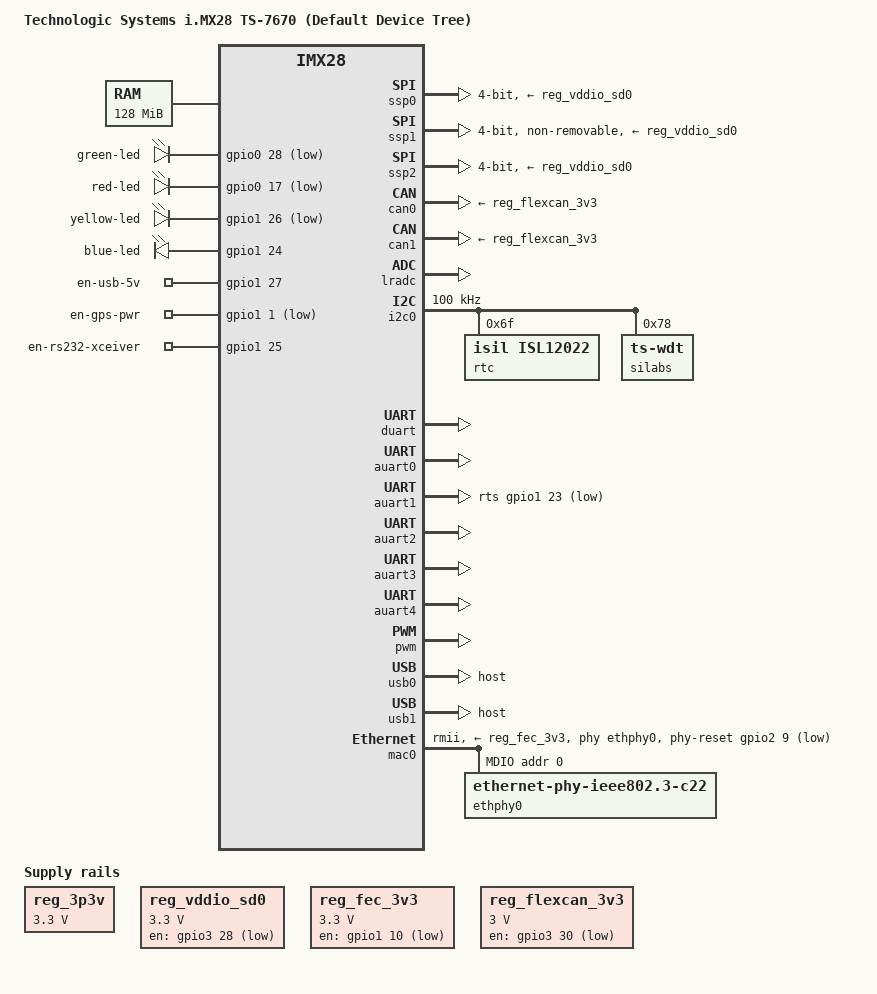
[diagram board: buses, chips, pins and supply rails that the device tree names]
/*
 * Copyright (C) 2019 Technologic Systems <support@embeddedarm.com>
 * Copyright (C) 2012 Marek Vasut <marex@denx.de>
 *
 * The code contained herein is licensed under the GNU General Public
 * License. You may obtain a copy of the GNU General Public License
 * Version 2 or later at the following locations:
 *
 * http://www.opensource.org/licenses/gpl-license.html
 * http://www.gnu.org/copyleft/gpl.html
 */

/dts-v1/;
#include "imx28.dtsi"
#include "dt-bindings/gpio/gpio.h"
#include <dt-bindings/interrupt-controller/irq.h>

/ {

	model = "Technologic Systems i.MX28 TS-7670 (Default Device Tree)";
	compatible = "fsl,imx28-ts7670", "fsl,imx28";

	aliases {
		i2c0 = &i2c0;
	};

	memory {
		reg = <0x40000000 0x08000000>;   /* 128MB */
	};

	leds {
		pinctrl-names = "default";
		pinctrl-0 = <&pinctrl_gpio_leds>;
		compatible = "gpio-leds";

		green-led {
			label = "green-led";
			gpios = <&gpio0 28 GPIO_ACTIVE_LOW>;
			default-state = "on";
		};

		red-led {
			label = "red-led";
			gpios = <&gpio0 17 GPIO_ACTIVE_LOW>;
			default-state = "off";
		};

		yellow-led {
			label = "yellow-led";
			gpios = <&gpio1 26 GPIO_ACTIVE_LOW>;
			default-state = "off";
		};

		blue-led {
			label = "blue-led";
			gpios = <&gpio1 24 GPIO_ACTIVE_HIGH>;
			default-state = "off";
		};

		/* The following are meant to be userspace controlled IO. The
		 * kernel does not allow setting default state of GPIO, but
		 * the default state of LEDs can be set, which is why the LED
		 * subsystem is used.
		 */
		en-usb-5v {
			label = "en-usb-5v";
			gpios = <&gpio1 27 GPIO_ACTIVE_HIGH>;
			default-state = "on";
		};

		en-gps-pwr {
			label = "en-gps-pwr";
			gpios = <&gpio1 1 GPIO_ACTIVE_LOW>;
			default-state = "off";
		};

		en-rs232-xceiver {
			label = "en-rs232-xceiver";
			gpios = <&gpio1 25 GPIO_ACTIVE_HIGH>;
			default-state = "on";
		};
	};


	apb@80000000 {
		apbh@80000000 {
			/* SD 0 */
			ssp0: ssp@80010000 {
				compatible = "fsl,imx28-mmc";
				pinctrl-names = "default";
				pinctrl-0 = <&mmc0_4bit_pins>;
				vmmc-supply = <&reg_vddio_sd0>;
				bus-width = <4>;
				broken-cd;
				disable-wp;
				status = "okay";
			};

			/* eMMC */
			ssp1: ssp@80012000 {
				compatible = "fsl,imx28-mmc";
				pinctrl-names = "default";
				pinctrl-0 = <&mmc1_4bit_pins>;
				vmmc-supply = <&reg_vddio_sd0>;
				bus-width = <4>;
				broken-cd;
				disable-wp;
				non-removable;
				status = "okay";
			};

			/* SD 1 */
			ssp2: ssp@80014000 {
				compatible = "fsl,imx28-mmc";
				pinctrl-names = "default";
				pinctrl-0 = <&mmc2_4bit_pins>;
				vmmc-supply = <&reg_vddio_sd0>;
				bus-width = <4>;
				broken-cd;
				disable-wp;
				status = "okay";
			};

			pinctrl@80018000 {
				pinctrl-names = "default";
				pinctrl-0 = <&pinctrl_hog>;

				pinctrl_hog: hoggrp {
					reg = <0>;
					fsl,pinmux-ids = <
					  /* Push switch */
					  MX28_PAD_LCD_D20__GPIO_1_20
					  /* Boot strapping */
					  MX28_PAD_LCD_D00__GPIO_1_0
					  MX28_PAD_LCD_D02__GPIO_1_2
					  MX28_PAD_LCD_D03__GPIO_1_3
					  MX28_PAD_LCD_D04__GPIO_1_4
					  MX28_PAD_LCD_D05__GPIO_1_5
					  MX28_PAD_LCD_D06__GPIO_1_6
					  /* DC DIO 4-6 */
					  MX28_PAD_LCD_D07__GPIO_1_7
					  MX28_PAD_LCD_D08__GPIO_1_8
					  MX28_PAD_LCD_D09__GPIO_1_9
					  /* Option strap 1-4 */
					  MX28_PAD_GPMI_D07__GPIO_0_7
					  MX28_PAD_LCD_D21__GPIO_1_21
					  MX28_PAD_LCD_D19__GPIO_1_19
					  MX28_PAD_LCD_D11__GPIO_1_11
					  /* EN MODBUS 24 V */
					  MX28_PAD_LCD_D13__GPIO_1_13
					  /* MODBUS FAULT */
					  MX28_PAD_LCD_D14__GPIO_1_14
					  /* EN MODBUS 3V# */
					  MX28_PAD_LCD_D15__GPIO_1_15
					  /* GPS PPS Out */
					  MX28_PAD_LCD_D16__GPIO_1_16
					  /* HD2 pin 4,6-8 */
					  MX28_PAD_GPMI_CE0N__GPIO_0_16
					  MX28_PAD_GPMI_D06__GPIO_0_6
					  MX28_PAD_LCD_D18__GPIO_1_18
					  MX28_PAD_GPMI_D05__GPIO_0_5
					>;
					fsl,drive-strength = <MXS_DRIVE_4mA>;
					fsl,voltage = <MXS_VOLTAGE_HIGH>;
					fsl,pull-up = <MXS_PULL_ENABLE>;
				};

				mmc0_4bit_pins: mmc0-4bit@0 {
					reg = <0>;
					fsl,pinmux-ids = <
					  MX28_PAD_SSP0_DATA0__SSP0_D0
					  MX28_PAD_SSP0_DATA1__SSP0_D1
					  MX28_PAD_SSP0_DATA2__SSP0_D2
					  MX28_PAD_SSP0_DATA3__SSP0_D3
					  MX28_PAD_SSP0_CMD__SSP0_CMD
					  MX28_PAD_SSP0_SCK__SSP0_SCK
					  /* EN SD Power */
					  MX28_PAD_PWM3__GPIO_3_28
					>;
					fsl,drive-strength = <MXS_DRIVE_8mA>;
					fsl,voltage = <MXS_VOLTAGE_HIGH>;
					fsl,pull-up = <MXS_PULL_ENABLE>;
				};

				mmc1_4bit_pins: mmc1-4bit@0 {
					reg = <0>;
					fsl,pinmux-ids = <
					  MX28_PAD_GPMI_D00__SSP1_D0
					  MX28_PAD_GPMI_D01__SSP1_D1
					  MX28_PAD_GPMI_D02__SSP1_D2
					  MX28_PAD_GPMI_D03__SSP1_D3
					  MX28_PAD_GPMI_RDY1__SSP1_CMD
					  MX28_PAD_GPMI_WRN__SSP1_SCK
					>;
					fsl,drive-strength = <MXS_DRIVE_8mA>;
					fsl,voltage = <MXS_VOLTAGE_HIGH>;
					fsl,pull-up = <MXS_PULL_ENABLE>;
				};

				mmc2_4bit_pins: mmc2-4bit@0 {
					reg = <0>;
					fsl,pinmux-ids = <
					  MX28_PAD_SSP0_DATA4__SSP2_D0
					  MX28_PAD_SSP2_SS1__SSP2_D1
					  MX28_PAD_SSP2_SS2__SSP2_D2
					  MX28_PAD_SSP0_DATA5__SSP2_D3
					  MX28_PAD_SSP0_DATA6__SSP2_CMD
					  /* For some reason, using the imx28
					   * .dtsi pinctrl definition of
					   * mmc2_sck_cfg or mmc2_4bit_pins_a
					   * does not properly set the clock mux
					   * However, setting it here works.
					   */
					  MX28_PAD_SSP0_DATA7__SSP2_SCK
					>;
					fsl,drive-strength = <MXS_DRIVE_8mA>;
					fsl,voltage = <MXS_VOLTAGE_HIGH>;
					fsl,pull-up = <MXS_PULL_ENABLE>;
				};

				mac0_pins_ts7670: mac0@0 {
					reg = <0>;
					fsl,pinmux-ids = <
					  MX28_PAD_ENET0_MDC__ENET0_MDC
					  MX28_PAD_ENET0_MDIO__ENET0_MDIO
					  MX28_PAD_ENET0_RX_EN__ENET0_RX_EN
					  MX28_PAD_ENET0_RXD0__ENET0_RXD0
					  MX28_PAD_ENET0_RXD1__ENET0_RXD1
					  MX28_PAD_ENET0_TX_EN__ENET0_TX_EN
					  MX28_PAD_ENET0_TXD0__ENET0_TXD0
					  MX28_PAD_ENET0_TXD1__ENET0_TXD1
					  MX28_PAD_ENET_CLK__CLKCTRL_ENET
					  /* PHY reset */
					  MX28_PAD_SSP0_DETECT__GPIO_2_9
					  /* PHY power */
					  MX28_PAD_LCD_D10__GPIO_1_10
					>;
					fsl,drive-strength = <MXS_DRIVE_8mA>;
					fsl,voltage = <MXS_VOLTAGE_HIGH>;
					fsl,pull-up = <MXS_PULL_ENABLE>;
				};

				auart4_2pins: auart4@0 {
					reg = <0>;
					fsl,pinmux-ids = <
					  MX28_PAD_SAIF0_BITCLK__AUART4_RX
					  MX28_PAD_SAIF0_SDATA0__AUART4_TX
					>;
					fsl,drive-strength = <MXS_DRIVE_4mA>;
					fsl,voltage = <MXS_VOLTAGE_HIGH>;
					fsl,pull-up = <MXS_PULL_DISABLE>;
				};

				auart1_2pins_gpio_rtscts: auart1-rtscts@0 {
					reg = <0>;
					fsl,pinmux-ids = <
					  MX28_PAD_AUART1_RX__AUART1_RX
					  MX28_PAD_AUART1_TX__AUART1_TX
					  /* AUART1 RTS GPIO */
					  MX28_PAD_LCD_D23__GPIO_1_23
					  /* AUART1 CTS GPIO */
					  MX28_PAD_LCD_D22__GPIO_1_22
					>;
					fsl,drive-strength = <MXS_DRIVE_4mA>;
					fsl,voltage = <MXS_VOLTAGE_HIGH>;
					fsl,pull-up = <MXS_PULL_DISABLE>;
				};

				pinctrl_flexcan_3v3: en-can@0 {
					reg = <0>;
					fsl,pinmux-ids = <
					  MX28_PAD_LCD_RESET__GPIO_3_30
					>;
					fsl,drive-strength = <MXS_DRIVE_4mA>;
					fsl,voltage = <MXS_VOLTAGE_HIGH>;
					fsl,pull-up = <MXS_PULL_ENABLE>;
				};

				pinctrl_gpio_leds: gpio-led@0 {
					reg = <0>;
					fsl,pinmux-ids = <
					  /* Red LED */
					  MX28_PAD_GPMI_CE1N__GPIO_0_17
					  /* Green LED */
					  MX28_PAD_GPMI_RESETN__GPIO_0_28
					  /* Yellow LED */
					  MX28_PAD_LCD_RS__GPIO_1_26
					  /* Blue LED */
					  MX28_PAD_LCD_RD_E__GPIO_1_24
					  /* USB 5V EN */
					  MX28_PAD_LCD_CS__GPIO_1_27
					  /* GPS radio power */
					  MX28_PAD_LCD_D01__GPIO_1_1
					  /* EN 232 transceiver */
					  MX28_PAD_LCD_WR_RWN__GPIO_1_25
					>;
					fsl,drive-strength = <MXS_DRIVE_12mA>;
					fsl,voltage = <MXS_VOLTAGE_HIGH>;
					fsl,pull-up = <MXS_PULL_DISABLE>;
				};
			};

			can0: can@80032000 {
				pinctrl-names = "default";
				pinctrl-0 = <&can0_pins_a>;
				xceiver-supply = <&reg_flexcan_3v3>;
				status = "okay";
			};

			can1: can@80034000 {
				pinctrl-names = "default";
				pinctrl-0 = <&can1_pins_a>;
				xceiver-supply = <&reg_flexcan_3v3>;
				status = "okay";
			};

		};

		apbx@80040000 {
			saif0: saif@80042000 {
				pinctrl-names = "default";
				pinctrl-0 = <&saif0_pins_a>;
				status = "disabled";
			};

			saif1: saif@80046000 {
				pinctrl-names = "default";
				pinctrl-0 = <&saif1_pins_a>;
				fsl,saif-master = <&saif0>;
				status = "disabled";
			};

			lradc: lradc@80050000 {
				status = "okay";
			};

			i2c0: i2c@80058000 {
				pinctrl-names = "default";
				pinctrl-0 = <&i2c0_pins_a>;
				clock-frequency = <100000>;
				status = "okay";

				rtc: isl12022@6f {
					compatible = "isil,isl12022";
					reg = <0x6f>;
				};

				silabs: silabs@78 {
					compatible = "ts-wdt";
					reg = <0x78>;
				};
			};

			duart: serial@80074000 {
				pinctrl-names = "default";
				pinctrl-0 = <&duart_pins_a>;
				status = "okay";
			};

			usbphy0: usbphy@8007c000 {
				phy-3p0-supply = <&reg_usbphy_vbus>;
				status = "okay";

			};

			usbphy1: usbphy@8007e000 {
				phy-3p0-supply = <&reg_usbphy_vbus>;
				status = "okay";
			};

			auart0: serial@8006a000 {
				pinctrl-names = "default";
				pinctrl-0 = <&auart0_pins_a>;
				status = "okay";
			};

			auart1: serial@8006c000 {
				pinctrl-names = "default";
				pinctrl-0 = <&auart1_2pins_gpio_rtscts>;
				rts-gpios = <&gpio1 23 GPIO_ACTIVE_LOW>;
				cts-gpios = <&gpio1 22 GPIO_ACTIVE_LOW>;
				status = "okay";
			};

			auart2: serial@8006e000 {
				pinctrl-names = "default";
				pinctrl-0 = <&auart2_2pins_a>;
				status = "okay";
			};

			auart3: serial@80070000 {
				pinctrl-names = "default";
				pinctrl-0 = <&auart3_2pins_a>;
				status = "okay";
			};

			auart4: serial@80072000 {
				pinctrl-names = "default";
				pinctrl-0 = <&auart4_2pins>;
				status = "okay";
			};

			pwm: pwm@80064000 {
				pinctrl-names = "default";
				pinctrl-0 = <&pwm2_pins_a>;
				status = "okay";
			};
		};
	};

	ahb@80080000 {
		usb0: usb@80080000 {
			disable-over-current;
			dr_mode = "host";
			status = "okay";
		};

		usb1: usb@80090000 {
			disable-over-current;
			dr_mode = "host";
			status = "okay";
		};

		mac0: ethernet@800f0000 {
			phy-mode = "rmii";
			pinctrl-names = "default";
			pinctrl-0 = <&mac0_pins_ts7670>;
			phy-supply = <&reg_fec_3v3>;
			phy-reset-gpios = <&gpio2 9 GPIO_ACTIVE_LOW>;
			/* PHY reset hold is 100 us, however, power enable to
			 * first unreset is 25 ms minimum. Increase every reset
			 * to accommodate this power-on situation.
			 */
			phy-reset-duration = <26>;
			phy-handle = <&ethphy0>;
			status = "okay";

			mdio {
				#address-cells = <1>;
				#size-cells = <0>;

				ethphy0: ethernet-phy@0 {
				  compatible = "ethernet-phy-ieee802.3-c22";
				  reg = <0>;
				};
			};
		};
	};

	regulators {
		compatible = "simple-bus";

		reg_3p3v: 3p3v {
			compatible = "regulator-fixed";
			regulator-name = "3P3V";
			regulator-min-microvolt = <3300000>;
			regulator-max-microvolt = <3300000>;
			regulator-always-on;
		};

		reg_vddio_sd0: vddio-sd0 {
			compatible = "regulator-fixed";
			regulator-name = "sd_vmmc";
			regulator-min-microvolt = <3300000>;
			regulator-max-microvolt = <3300000>;
			regulator-boot-on;
			gpio = <&gpio3 28 GPIO_ACTIVE_LOW>;
		};

		reg_usbphy_vbus: usbphy_vbus {
			compatible = "regulator-dummy";
			regulator-name = "usbphy_vbus_dummy";
			regulator-always-on;
		};


		reg_fec_3v3: enet_vbus {
			compatible = "regulator-fixed";
			regulator-name = "enet_vbus";
			regulator-min-microvolt = <3300000>;
			regulator-max-microvolt = <3300000>;
			gpio = <&gpio1 10 GPIO_ACTIVE_LOW>;
		};

		reg_flexcan_3v3: en-can@0 {
			compatible = "regulator-fixed";
			regulator-name = "en-can";
			pinctrl-names = "default";
			pinctrl-0 = <&pinctrl_flexcan_3v3>;
			regulator-min-microvolt = <3000000>;
			regulator-max-microvolt = <3000000>;
			gpio = <&gpio3 30 GPIO_ACTIVE_LOW>;
		};
	};
};


